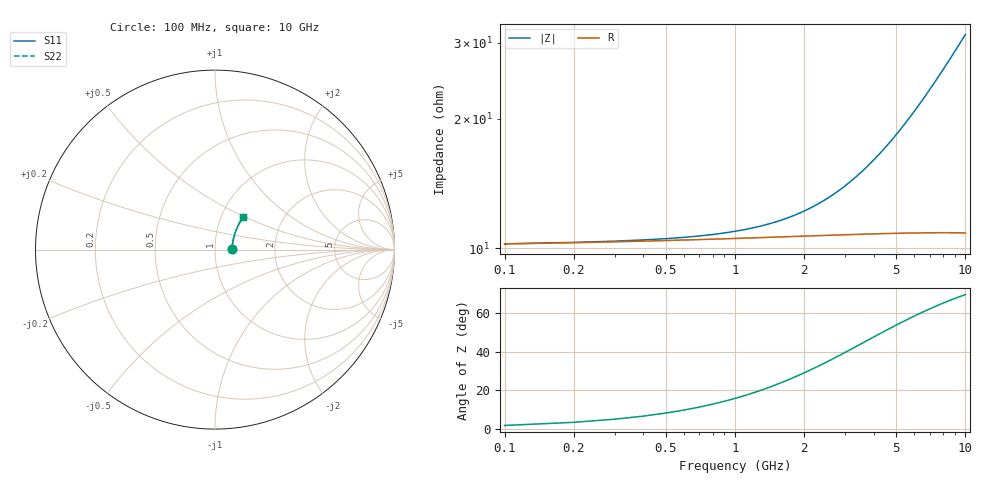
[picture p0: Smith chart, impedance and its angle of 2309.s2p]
# Hz S RI R 50.00
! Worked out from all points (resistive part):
!   100 points, 100 MHz to 10 GHz, reference 50 ohm
!   read as one part in series: R = 10.2 ohm at 100 MHz
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1e8  0.0928 0.00201  0.9072 -0.00286  0.9072 -0.00286  0.0928 0.00201
2e8  0.0934 0.00402  0.9066 -0.00571  0.9066 -0.00571  0.0934 0.00402
7e8  0.0951 0.014  0.9049 -0.0199  0.9049 -0.0199  0.0951 0.014
1e9  0.0959 0.02  0.904 -0.0284  0.904 -0.0284  0.0959 0.02
1.2e9  0.0965 0.024  0.9034 -0.0341  0.9034 -0.0341  0.0965 0.024
1.4e9  0.0971 0.0279  0.9028 -0.0398  0.9028 -0.0398  0.0971 0.0279
1.8e9  0.0983 0.0358  0.9016 -0.051  0.9016 -0.051  0.0983 0.0358
2.1e9  0.0993 0.0417  0.9005 -0.0595  0.9005 -0.0595  0.0993 0.0417
2.5e9  0.1008 0.0496  0.899 -0.0707  0.899 -0.0707  0.1008 0.0496
2.9e9  0.1024 0.0574  0.8973 -0.0819  0.8973 -0.0819  0.1024 0.0574
3.4e9  0.1046 0.067  0.8949 -0.0958  0.8949 -0.0958  0.1046 0.067
4.3e9  0.1093 0.0842  0.89 -0.1205  0.89 -0.1205  0.1093 0.0842
5.1e9  0.1142 0.0991  0.8848 -0.1423  0.8848 -0.1423  0.1142 0.0991
5.9e9  0.1198 0.1138  0.8788 -0.1637  0.8788 -0.1637  0.1198 0.1138
6.3e9  0.1229 0.121  0.8756 -0.1743  0.8756 -0.1743  0.1229 0.121
6.7e9  0.1261 0.1281  0.8722 -0.1848  0.8722 -0.1848  0.1261 0.1281
7.1e9  0.1295 0.1351  0.8686 -0.1952  0.8686 -0.1952  0.1295 0.1351
7.5e9  0.133 0.142  0.8649 -0.2054  0.8649 -0.2054  0.133 0.142
7.9e9  0.1367 0.1487  0.8609 -0.2156  0.8609 -0.2156  0.1367 0.1487
8.4e9  0.1415 0.1571  0.8558 -0.2282  0.8558 -0.2282  0.1415 0.1571
9.2e9  0.1497 0.17  0.8471 -0.2479  0.8471 -0.2479  0.1497 0.17
1e10  0.1584 0.1824  0.8378 -0.2672  0.8378 -0.2672  0.1584 0.1824
